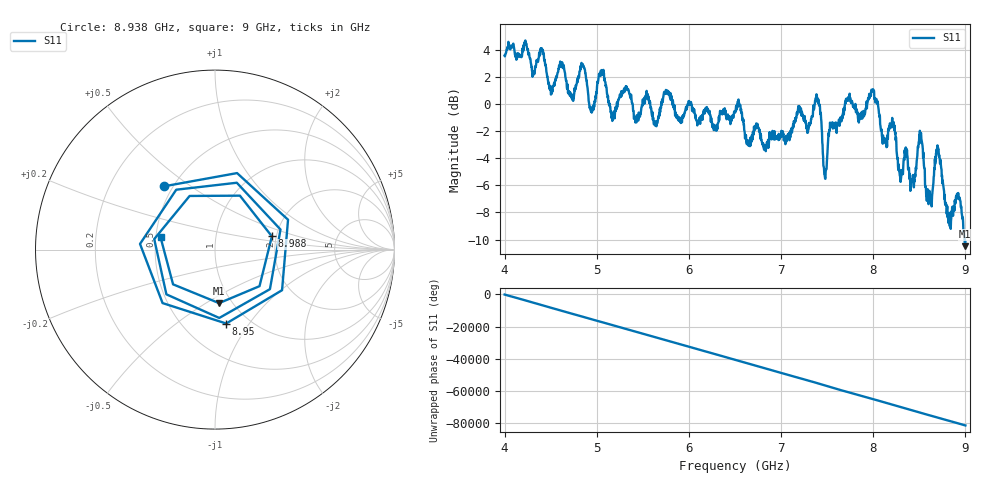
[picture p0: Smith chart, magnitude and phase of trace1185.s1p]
! Created with skrf 1.8.0 (http://scikit-rf.org).
# Hz S RI R 50.0
!freq ReS11 ImS11
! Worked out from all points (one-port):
!   1601 points, 4 GHz to 9 GHz, reference 50 ohm
!   lowest |S11| = -10.5 dB at 8.994 GHz (marker M1), VSWR 1.85, Z = 43.6 - j28.6 ohm
!   |S11| at or under -10 dB: 8.991631 GHz to end of sweep
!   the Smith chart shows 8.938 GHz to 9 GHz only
!   S11 on the Smith chart (normalised r, x): 8.938 GHz: 0.45, +0.40; 8.95 GHz: 0.79, -0.79; 8.988 GHz: 1.89, +0.31; 9 GHz: 0.53, +0.08
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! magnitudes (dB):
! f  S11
! 4 GHz  3.6
! 4.506 GHz  0.8
! 4.625 GHz  3.0
! 4.728 GHz  0.4
! 4.853 GHz  2.8
! 4.941 GHz  -0.6
! 5.047 GHz  2.2
! 5.169 GHz  -1.3
! 5.25 GHz  0.7
! 5.875 GHz  -0.9
! 6.5 GHz  -0.5
! 6.647 GHz  -3.1
! 7.125 GHz  -1.7
! 7.394 GHz  0.2
! 7.478 GHz  -5.5
! 7.75 GHz  0.4
! 7.994 GHz  0.9
! 8.375 GHz  -4.3
! 8.428 GHz  -5.7
! 8.512 GHz  -2.2
! 8.619 GHz  -6.7
! 8.706 GHz  -3.4
! 8.822 GHz  -8.4
! 8.938 GHz  -6.9
! 8.95 GHz  -7.6
! 8.988 GHz  -9.8
! 8.994 GHz  -10.5
! 9 GHz  -10.1
